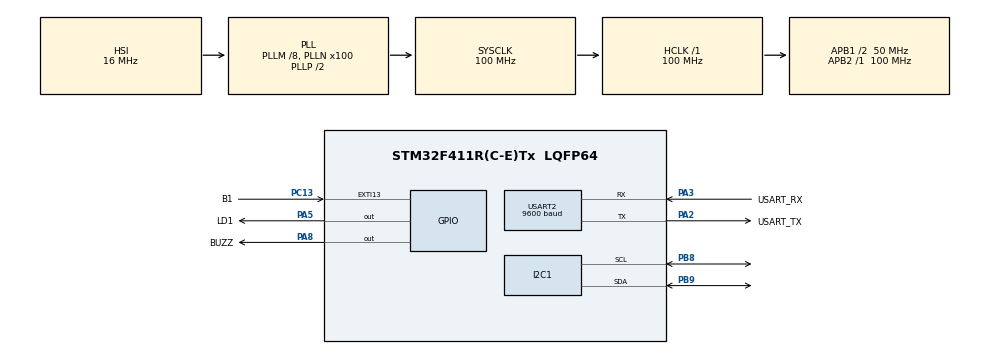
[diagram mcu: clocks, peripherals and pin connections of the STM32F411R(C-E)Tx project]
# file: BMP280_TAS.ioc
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I2C1.I2C_Mode=I2C_Fast
Mcu.Family=STM32F4
Mcu.Name=STM32F411R(C-E)Tx
Mcu.Package=LQFP64
NVIC.PriorityGroup=NVIC_PRIORITYGROUP_2
NVIC.TIM2_IRQn=true\:1\:0\:true\:false\:true\:true\:true\:true
NVIC.TIM3_IRQn=true\:1\:0\:true\:false\:true\:true\:true\:true
PA13.GPIO_Label=TMS
PA13.Mode=Serial_Wire
PA13.Signal=SYS_JTMS-SWDIO
PA14.GPIO_Label=TCK
PA14.Mode=Serial_Wire
PA14.Signal=SYS_JTCK-SWCLK
PA2.GPIO_Label=USART_TX
PA2.Mode=Asynchronous
PA2.Signal=USART2_TX
PA3.GPIO_Label=USART_RX
PA3.Mode=Asynchronous
PA3.Signal=USART2_RX
PA5.GPIO_Label=LD1
PA5.GPIO_Speed=GPIO_SPEED_FREQ_VERY_HIGH
PA5.Signal=GPIO_Output
PA8.GPIO_Label=BUZZ
PA8.GPIO_Speed=GPIO_SPEED_FREQ_VERY_HIGH
PA8.Signal=GPIO_Output
PB3.GPIO_Label=SWO
PB3.Signal=SYS_JTDO-SWO
PB8.Mode=I2C
PB8.Signal=I2C1_SCL
PB9.Mode=I2C
PB9.Signal=I2C1_SDA
PC13-ANTI_TAMP.GPIO_Label=B1
PC13-ANTI_TAMP.GPIO_ModeDefaultEXTI=GPIO_MODE_IT_FALLING
PC13-ANTI_TAMP.Signal=GPXTI13
PC14-OSC32_IN.Mode=LSE-External-Oscillator
PC14-OSC32_IN.Signal=RCC_OSC32_IN
PC15-OSC32_OUT.Mode=LSE-External-Oscillator
PC15-OSC32_OUT.Signal=RCC_OSC32_OUT
PH0\ -\ OSC_IN.Mode=HSE-External-Clock-Source
PH0\ -\ OSC_IN.Signal=RCC_OSC_IN
PH1\ -\ OSC_OUT.Mode=HSE-External-Clock-Source
PH1\ -\ OSC_OUT.Signal=RCC_OSC_OUT
ProjectManager.HeapSize=0x200
ProjectManager.StackSize=0x400
ProjectManager.TargetToolchain=STM32CubeIDE
RCC.48MHZClocksFreq_Value=50000000
RCC.AHBFreq_Value=100000000
RCC.APB1CLKDivider=RCC_HCLK_DIV2
RCC.APB1Freq_Value=50000000
RCC.APB1TimFreq_Value=100000000
RCC.APB2Freq_Value=100000000
RCC.APB2TimFreq_Value=100000000
RCC.CortexFreq_Value=100000000
RCC.FLatency-AdvancedSettings=FLASH_LATENCY_3
RCC.HCLKFreq_Value=100000000
RCC.HSE_VALUE=8000000
RCC.HSI_VALUE=16000000
RCC.PLLM=8
RCC.PLLN=100
RCC.SYSCLKFreq_VALUE=100000000
RCC.SYSCLKSource=RCC_SYSCLKSOURCE_PLLCLK
RCC.VCOOutputFreq_Value=200000000
TIM2.ClockDivision=TIM_CLOCKDIVISION_DIV1
TIM2.Period=2499
TIM2.Prescaler=9999
TIM3.ClockDivision=TIM_CLOCKDIVISION_DIV1
TIM3.Period=999
TIM3.Prescaler=9999
USART2.BaudRate=9600
USART2.VirtualMode=VM_ASYNC
VP_TIM2_VS_ClockSourceINT.Mode=Internal
VP_TIM3_VS_ClockSourceINT.Mode=Internal
board=NUCLEO-F411RE

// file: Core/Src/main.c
/* USER CODE BEGIN Header */
/**
  ******************************************************************************
  * @file           : main.c
  * @brief          : Main program body
  ******************************************************************************
  * @attention
  *
  * Copyright (c) 2024 STMicroelectronics.
  * All rights reserved.
  *
  * This software is licensed under terms that can be found in the LICENSE file
  * in the root directory of this software component.
  * If no LICENSE file comes with this software, it is provided AS-IS.
  *
  ******************************************************************************
  */
/* USER CODE END Header */
#include "main.h"
#include "i2c.h"
#include "tim.h"
#include "usart.h"
#include "gpio.h"

/* USER CODE BEGIN Includes */
#include <stdbool.h>
#include <stdio.h>
#include <math.h>
#include <string.h>
#include "BMP280.h"
#include "ssd1306.h"
/* USER CODE END Includes */

void SystemClock_Config(void);

/* USER CODE BEGIN 0 */
#define INTERVAL 200
bool BUZ = false;
uint32_t last_time;

float Temp1, Press1, Alt1;
float con1 = 0.1902632;
float con2 = 44330.77;
float sea_level = 1013.26;

float vel,xN,xB;
float Calculate_Height (float prs);
char temp[100];
char press[100];
char alt[100];
char velo[100];

float Preh = 0;
float Curh = 0;
float dish = 0;
float vel, tvel;

/* USER CODE END 0 */

int main(void)
{

  /* MCU Configuration--------------------------------------------------------*/

  /* Reset of all peripherals, Initializes the Flash interface and the Systick. */
  HAL_Init();

  /* Configure the system clock */
  SystemClock_Config();

  /* Initialize all configured peripherals */
  MX_GPIO_Init();
  MX_USART2_UART_Init();
  MX_I2C1_Init();
  MX_TIM2_Init();
  MX_TIM3_Init();
  /* USER CODE BEGIN 2 */
  ssd1306_Init();
  HAL_TIM_Base_Start_IT(&htim2);
  HAL_TIM_Base_Start_IT(&htim3);
  BMP280_Config(OSRS_2, OSRS_16, MODE_NORMAL, T_SB_0p5, IRR_16);

  /* USER CODE END 2 */

  /* Infinite loop */
  /* USER CODE BEGIN WHILE */
  while (1)
  {
	  Temp1 = BMP280_Get_Temp();
	  Press1 = BMP280_Get_Press();
	  Alt1 = Calculate_Height(Press1);
	  sprintf(temp,"sicaklik= %.2f",Temp1);
	  sprintf(press,"basinc = %.2f",Press1);
	  sprintf(alt,"yukseklik = %.5f",Alt1);
	  sprintf(velo,"hiz = %.2f",vel);
	  ssd1306_Fill(Black);
	  ssd1306_SetCursor(2,8);
	  ssd1306_WriteString(temp, Font_7x10, White);
	  ssd1306_SetCursor(2,20);
	  ssd1306_WriteString(press, Font_7x10, White);
	  ssd1306_SetCursor(2,32);
	  ssd1306_WriteString(alt, Font_7x10, White);
	  ssd1306_SetCursor(2,44);
	  ssd1306_WriteString(velo, Font_7x10, White);
	  ssd1306_UpdateScreen();
	  //ssd1306_TestAll();
	  HAL_UART_Transmit(&huart2, temp, strlen(temp), 10000);
	  HAL_UART_Transmit(&huart2, press, strlen(press), 10000);
	  HAL_UART_Transmit(&huart2, alt, strlen(press), 10000);
	  HAL_UART_Transmit(&huart2, velo, strlen(velo), 10000);
	  if (vel < -1) {
		  HAL_GPIO_WritePin(BUZZ_GPIO_Port, BUZZ_Pin, 1);
		  BUZ = false;
	  }
	  else if (vel >=0.6) {
		  BUZ = true;
	  }
	  else {
		  HAL_GPIO_WritePin(BUZZ_GPIO_Port, BUZZ_Pin, 0);
		  BUZ = false;
	  }

    /* USER CODE END WHILE */

  }
}

void SystemClock_Config(void)
{
  RCC_OscInitTypeDef RCC_OscInitStruct = {0};
  RCC_ClkInitTypeDef RCC_ClkInitStruct = {0};

  /** Configure the main internal regulator output voltage
  */
  __HAL_RCC_PWR_CLK_ENABLE();
  __HAL_PWR_VOLTAGESCALING_CONFIG(PWR_REGULATOR_VOLTAGE_SCALE1);

  /** Initializes the RCC Oscillators according to the specified parameters
  * in the RCC_OscInitTypeDef structure.
  */
  RCC_OscInitStruct.OscillatorType = RCC_OSCILLATORTYPE_HSI;
  RCC_OscInitStruct.HSIState = RCC_HSI_ON;
  RCC_OscInitStruct.HSICalibrationValue = RCC_HSICALIBRATION_DEFAULT;
  RCC_OscInitStruct.PLL.PLLState = RCC_PLL_ON;
  RCC_OscInitStruct.PLL.PLLSource = RCC_PLLSOURCE_HSI;
  RCC_OscInitStruct.PLL.PLLM = 8;
  RCC_OscInitStruct.PLL.PLLN = 100;
  RCC_OscInitStruct.PLL.PLLP = RCC_PLLP_DIV2;
  RCC_OscInitStruct.PLL.PLLQ = 4;
  if (HAL_RCC_OscConfig(&RCC_OscInitStruct) != HAL_OK)
  {
    Error_Handler();
  }

  /** Initializes the CPU, AHB and APB buses clocks
  */
  RCC_ClkInitStruct.ClockType = RCC_CLOCKTYPE_HCLK|RCC_CLOCKTYPE_SYSCLK
                              |RCC_CLOCKTYPE_PCLK1|RCC_CLOCKTYPE_PCLK2;
  RCC_ClkInitStruct.SYSCLKSource = RCC_SYSCLKSOURCE_PLLCLK;
  RCC_ClkInitStruct.AHBCLKDivider = RCC_SYSCLK_DIV1;
  RCC_ClkInitStruct.APB1CLKDivider = RCC_HCLK_DIV2;
  RCC_ClkInitStruct.APB2CLKDivider = RCC_HCLK_DIV1;

  if (HAL_RCC_ClockConfig(&RCC_ClkInitStruct, FLASH_LATENCY_3) != HAL_OK)
  {
    Error_Handler();
  }
}

/* USER CODE BEGIN 4 */
float Calculate_Height (float prs){
	float tmp = pow((prs/sea_level),con1);
	return  con2*(1-tmp);
}
void HAL_TIM_PeriodElapsedCallback(TIM_HandleTypeDef *htim){
		if (htim->Instance==TIM2) {
			Curh = Alt1;
			dish = Curh - Preh;
			vel = dish/0.25;
			Preh = Curh;
		}
		if (htim->Instance==TIM3) {
			HAL_GPIO_TogglePin(LD1_GPIO_Port, LD1_Pin);
			if (BUZ) {
				HAL_GPIO_TogglePin(BUZZ_GPIO_Port, BUZZ_Pin);
			}

		}
}
/* USER CODE END 4 */

void Error_Handler(void)
{
  __disable_irq();
  while (1)
  {
  }
}
